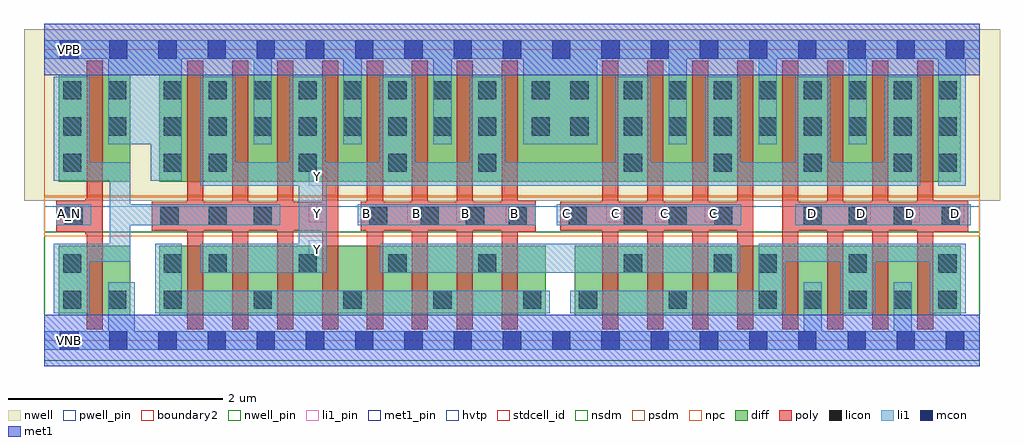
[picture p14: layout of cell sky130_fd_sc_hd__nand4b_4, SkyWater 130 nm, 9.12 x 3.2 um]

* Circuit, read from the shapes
.subckt sky130_fd_sc_hd__nand4b_4 A_N B C D VGND VNB VPB VPWR Y
XM1 VGND A_N n1 VNB sky130_fd_pr__nfet_01v8 w=0.65 l=0.15
XM2 Y n1 n2 VNB sky130_fd_pr__nfet_01v8 w=0.65 l=0.15 m=4
XM3 n3 B n2 VNB sky130_fd_pr__nfet_01v8 w=0.65 l=0.15 m=4
XM4 n3 C n4 VNB sky130_fd_pr__nfet_01v8 w=0.65 l=0.15 m=4
XM5 VGND D n4 VNB sky130_fd_pr__nfet_01v8 w=0.65 l=0.15 m=4
XM6 VPWR A_N n1 VPB sky130_fd_pr__pfet_01v8_hvt w=1 l=0.15
XM7 Y n1 VPWR VPB sky130_fd_pr__pfet_01v8_hvt w=1 l=0.15 m=4
XM8 Y B VPWR VPB sky130_fd_pr__pfet_01v8_hvt w=1 l=0.15 m=4
XM9 Y C VPWR VPB sky130_fd_pr__pfet_01v8_hvt w=1 l=0.15 m=4
XM10 Y D VPWR VPB sky130_fd_pr__pfet_01v8_hvt w=1 l=0.15 m=4
.ends

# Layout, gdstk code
import gdstk
lib = gdstk.Library(unit=1e-6, precision=1e-09)
def R(c, l, rs):  # rectangles x0, y0, x1, y1
    for r in rs: c.add(gdstk.rectangle(r[:2], r[2:], *l))
def A(c, l, x, y, w, h, nx, ny, dx, dy):  # array of equal rectangles
    R(c, l, [(x+i*dx, y+j*dy, x+i*dx+w, y+j*dy+h) for i in range(nx) for j in range(ny)])
def P(c, l, *ps):  # polygons
    for p in ps: c.add(gdstk.Polygon(p, *l))
nwell_pin = (64, 16)
nwell = (64, 20)
diff = (65, 20)
poly = (66, 20)
licon = (66, 44)
li1_pin = (67, 16)
li1 = (67, 20)
mcon = (67, 44)
met1_pin = (68, 16)
met1 = (68, 20)
hvtp = (78, 44)
stdcell_id = (81, 4)
nsdm = (93, 44)
psdm = (94, 20)
npc = (95, 20)
pwell_pin = (122, 16)
boundary2 = (236, 0)

sky130_fd_sc_hd__nand4b_ = lib.new_cell('sky130_fd_sc_hd__nand4b_4')
R(sky130_fd_sc_hd__nand4b_, nwell_pin, [(0.15,2.635,0.32,2.805)])
R(sky130_fd_sc_hd__nand4b_, nwell, [(-0.19,1.305,8.93,2.91)])
R(sky130_fd_sc_hd__nand4b_, diff, [(0.135,0.235,0.805,0.885), (1.075,0.235,4.685,0.885), (4.955,0.235,8.565,0.885), (0.135,1.485,0.805,2.485), (1.075,1.485,8.565,2.485)])
R(sky130_fd_sc_hd__nand4b_, poly, [(0.11,1.015,0.38,1.025), (8.305,1.015,8.635,1.025), (0.11,1.295,0.38,1.305), (8.305,1.295,8.635,1.305)])
P(sky130_fd_sc_hd__nand4b_, poly, [(0.545,2.615),(0.395,2.615),(0.395,1.325),(0.38,1.325),(0.38,1.295),(0.11,1.295),(0.11,1.025),(0.38,1.025),(0.38,0.995),(0.395,0.995),(0.395,0.105),(0.545,0.105)],
  [(4.59,1.305),(4.425,1.305),(4.425,2.615),(4.275,2.615),(4.275,1.295),(4.005,1.295),(4.005,2.615),(3.855,2.615),(3.855,1.295),(3.585,1.295),(3.585,2.615),(3.435,2.615),(3.435,1.295),(3.165,1.295),(3.165,2.615),(3.015,2.615),(3.015,1.295),(2.955,1.295),(2.955,1.025),(3.015,1.025),(3.015,0.105),(3.165,0.105),(3.165,1.025),(3.435,1.025),(3.435,0.105),(3.585,0.105),(3.585,1.025),(3.855,1.025),(3.855,0.105),(4.005,0.105),(4.005,1.025),(4.275,1.025),(4.275,0.105),(4.425,0.105),(4.425,1.015),(4.59,1.015)],
  [(2.745,2.615),(2.595,2.615),(2.595,1.295),(2.325,1.295),(2.325,2.615),(2.175,2.615),(2.175,1.295),(1.905,1.295),(1.905,2.615),(1.755,2.615),(1.755,1.295),(1.485,1.295),(1.485,2.615),(1.335,2.615),(1.335,1.295),(1.005,1.295),(1.005,1.025),(1.335,1.025),(1.335,0.105),(1.485,0.105),(1.485,1.025),(1.755,1.025),(1.755,0.105),(1.905,0.105),(1.905,1.025),(2.175,1.025),(2.175,0.105),(2.325,0.105),(2.325,1.025),(2.595,1.025),(2.595,0.105),(2.745,0.105)],
  [(8.635,1.295),(8.305,1.295),(8.305,2.615),(8.155,2.615),(8.155,1.295),(7.885,1.295),(7.885,2.615),(7.735,2.615),(7.735,1.295),(7.465,1.295),(7.465,2.615),(7.315,2.615),(7.315,1.295),(7.045,1.295),(7.045,2.615),(6.895,2.615),(6.895,0.105),(7.045,0.105),(7.045,1.025),(7.315,1.025),(7.315,0.105),(7.465,0.105),(7.465,1.025),(7.735,1.025),(7.735,0.105),(7.885,0.105),(7.885,1.025),(8.155,1.025),(8.155,0.105),(8.305,0.105),(8.305,1.025),(8.635,1.025)],
  [(6.625,2.615),(6.475,2.615),(6.475,1.295),(6.205,1.295),(6.205,2.615),(6.055,2.615),(6.055,1.295),(5.785,1.295),(5.785,2.615),(5.635,2.615),(5.635,1.295),(5.365,1.295),(5.365,2.615),(5.215,2.615),(5.215,1.295),(4.82,1.295),(4.82,1.025),(5.215,1.025),(5.215,0.105),(5.365,0.105),(5.365,1.025),(5.635,1.025),(5.635,0.105),(5.785,0.105),(5.785,1.025),(6.055,1.025),(6.055,0.105),(6.205,0.105),(6.205,1.025),(6.475,1.025),(6.475,0.105),(6.625,0.105)])
A(sky130_fd_sc_hd__nand4b_, licon, 1.115, 0.295, 0.17, 0.17, 5, 1, 0.84, 0)
A(sky130_fd_sc_hd__nand4b_, licon, 4.995, 0.295, 0.17, 0.17, 3, 1, 0.84, 0)
A(sky130_fd_sc_hd__nand4b_, licon, 7.095, 0.295, 0.17, 0.17, 4, 1, 0.42, 0)
A(sky130_fd_sc_hd__nand4b_, licon, 1.535, 0.635, 0.17, 0.17, 4, 2, 0.84, 0.94)
A(sky130_fd_sc_hd__nand4b_, licon, 6.675, 0.635, 0.17, 0.17, 3, 1, 0.84, 0)
A(sky130_fd_sc_hd__nand4b_, licon, 7.095, 1.075, 0.17, 0.17, 3, 1, 0.42, 0)
A(sky130_fd_sc_hd__nand4b_, licon, 0.175, 1.575, 0.17, 0.17, 1, 3, 0, 0.34)
A(sky130_fd_sc_hd__nand4b_, licon, 5.415, 1.575, 0.17, 0.17, 4, 1, 0.84, 0)
A(sky130_fd_sc_hd__nand4b_, licon, 1.115, 1.915, 0.17, 0.17, 8, 2, 0.42, 0.34)
A(sky130_fd_sc_hd__nand4b_, licon, 5.415, 1.915, 0.17, 0.17, 8, 2, 0.42, 0.34)
R(sky130_fd_sc_hd__nand4b_, licon, [(0.175,0.295,0.345,0.465), (0.595,0.295,0.765,0.465), (0.175,0.635,0.345,0.805), (1.115,0.635,1.285,0.805), (5.415,0.635,5.585,0.805), (6.255,0.635,6.425,0.805), (0.19,1.075,0.36,1.245), (1.085,1.075,1.255,1.245), (1.535,1.075,1.705,1.245), (1.955,1.075,2.125,1.245), (3.035,1.075,3.205,1.245), (3.515,1.075,3.685,1.245), (3.94,1.075,4.11,1.245), (4.34,1.075,4.51,1.245), (4.9,1.075,5.07,1.245), (5.415,1.075,5.585,1.245), (5.835,1.075,6.005,1.245), (6.26,1.075,6.43,1.245), (8.385,1.075,8.555,1.245), (1.115,1.575,1.285,1.745), (8.355,1.575,8.525,1.745), (0.595,1.915,0.765,2.085), (4.555,1.915,4.725,2.085), (4.915,1.915,5.085,2.085), (0.595,2.255,0.765,2.425), (4.555,2.255,4.725,2.425), (4.915,2.255,5.085,2.425)])
A(sky130_fd_sc_hd__nand4b_, li1_pin, 2.47, 1.105, 0.17, 0.17, 5, 1, 0.46, 0)
A(sky130_fd_sc_hd__nand4b_, li1_pin, 4.79, 1.105, 0.17, 0.17, 4, 1, 0.46, 0)
A(sky130_fd_sc_hd__nand4b_, li1_pin, 7.09, 1.105, 0.17, 0.17, 3, 1, 0.46, 0)
R(sky130_fd_sc_hd__nand4b_, li1_pin, [(2.47,0.765,2.64,0.935), (0.15,1.105,0.32,1.275), (8.425,1.105,8.595,1.275), (2.47,1.445,2.64,1.615)])
R(sky130_fd_sc_hd__nand4b_, li1, [(3.135,0.635,6.505,0.905), (0.11,1.075,0.44,1.275), (2.93,1.075,4.59,1.275), (4.79,1.075,6.51,1.275), (7.015,1.075,8.655,1.275)])
P(sky130_fd_sc_hd__nand4b_, li1, [(2.205,1.275),(0.805,1.275),(0.805,1.665),(0.425,1.665),(0.425,2.465),(0.09,2.465),(0.09,1.495),(0.61,1.495),(0.61,0.905),(0.09,0.905),(0.09,0.255),(0.425,0.255),(0.425,0.735),(0.805,0.735),(0.805,1.075),(2.205,1.075)],
  [(4.725,0.465),(1.285,0.465),(1.285,0.905),(1.035,0.905),(1.035,0.255),(4.725,0.255)],
  [(8.185,2.465),(7.855,2.465),(7.855,1.665),(7.345,1.665),(7.345,2.465),(7.015,2.465),(7.015,1.665),(6.505,1.665),(6.505,2.465),(6.175,2.465),(6.175,1.665),(5.665,1.665),(5.665,2.465),(5.335,2.465),(5.335,1.665),(4.305,1.665),(4.305,2.465),(3.975,2.465),(3.975,1.665),(3.465,1.665),(3.465,2.465),(3.135,2.465),(3.135,1.665),(2.625,1.665),(2.625,2.465),(2.295,2.465),(2.295,1.665),(1.785,1.665),(1.785,2.465),(1.455,2.465),(1.455,1.445),(2.375,1.445),(2.375,0.905),(1.455,0.905),(1.455,0.635),(2.64,0.635),(2.64,1.445),(8.185,1.445)],
  [(8.74,0.085),(8.105,0.085),(8.105,0.545),(7.935,0.545),(7.935,0.085),(7.265,0.085),(7.265,0.545),(7.095,0.545),(7.095,0.085),(0.845,0.085),(0.845,0.545),(0.595,0.545),(0.595,0.085),(0,0.085),(0,-0.085),(8.74,-0.085)],
  [(8.74,2.805),(0,2.805),(0,2.635),(0.595,2.635),(0.595,1.835),(0.995,1.835),(0.995,1.495),(1.285,1.495),(1.285,2.635),(1.955,2.635),(1.955,1.835),(2.125,1.835),(2.125,2.635),(2.795,2.635),(2.795,1.835),(2.965,1.835),(2.965,2.635),(3.635,2.635),(3.635,1.835),(3.805,1.835),(3.805,2.635),(4.475,2.635),(4.475,1.835),(5.165,1.835),(5.165,2.635),(5.835,2.635),(5.835,1.835),(6.005,1.835),(6.005,2.635),(6.675,2.635),(6.675,1.835),(6.845,1.835),(6.845,2.635),(7.515,2.635),(7.515,1.835),(7.685,1.835),(7.685,2.635),(8.355,2.635),(8.355,1.445),(8.61,1.445),(8.61,2.635),(8.74,2.635)],
  [(8.61,0.905),(6.675,0.905),(6.675,0.465),(4.915,0.465),(4.915,0.255),(6.925,0.255),(6.925,0.735),(7.435,0.735),(7.435,0.255),(7.765,0.255),(7.765,0.735),(8.275,0.735),(8.275,0.255),(8.61,0.255)])
A(sky130_fd_sc_hd__nand4b_, mcon, 0.145, -0.085, 0.17, 0.17, 19, 2, 0.46, 2.72)
R(sky130_fd_sc_hd__nand4b_, met1_pin, [(0.15,-0.085,0.32,0.085), (0.15,2.635,0.32,2.805)])
R(sky130_fd_sc_hd__nand4b_, hvtp, [(0,1.25,8.74,2.72)])
R(sky130_fd_sc_hd__nand4b_, stdcell_id, [(0,0,8.74,2.72)])
R(sky130_fd_sc_hd__nand4b_, nsdm, [(0,-0.19,8.74,1.015)])
R(sky130_fd_sc_hd__nand4b_, psdm, [(0,1.355,8.74,2.91)])
R(sky130_fd_sc_hd__nand4b_, npc, [(0,0.975,8.74,1.345)])
R(sky130_fd_sc_hd__nand4b_, pwell_pin, [(0.15,-0.085,0.32,0.085)])
R(sky130_fd_sc_hd__nand4b_, boundary2, [(0,0,8.74,2.72)])
sky130_fd_sc_hd__nand4b_.add(gdstk.FlexPath([(0,2.72),(8.74,2.72)], 0.48, ends="flush", simple_path=True, layer=68, datatype=20))  # met1
sky130_fd_sc_hd__nand4b_.add(gdstk.FlexPath([(0,0),(8.74,0)], 0.48, ends="flush", simple_path=True, layer=68, datatype=20))  # met1
sky130_fd_sc_hd__nand4b_.add(gdstk.Label('D', (8.51,1.19), layer=67, texttype=5))
sky130_fd_sc_hd__nand4b_.add(gdstk.Label('D', (8.095,1.19), layer=67, texttype=5))
sky130_fd_sc_hd__nand4b_.add(gdstk.Label('D', (7.635,1.19), layer=67, texttype=5))
sky130_fd_sc_hd__nand4b_.add(gdstk.Label('C', (5.795,1.19), layer=67, texttype=5))
sky130_fd_sc_hd__nand4b_.add(gdstk.Label('C', (5.335,1.19), layer=67, texttype=5))
sky130_fd_sc_hd__nand4b_.add(gdstk.Label('C', (4.875,1.19), layer=67, texttype=5))
sky130_fd_sc_hd__nand4b_.add(gdstk.Label('B', (4.395,1.19), layer=67, texttype=5))
sky130_fd_sc_hd__nand4b_.add(gdstk.Label('B', (3.935,1.19), layer=67, texttype=5))
sky130_fd_sc_hd__nand4b_.add(gdstk.Label('B', (3.475,1.19), layer=67, texttype=5))
sky130_fd_sc_hd__nand4b_.add(gdstk.Label('B', (3.015,1.19), layer=67, texttype=5))
sky130_fd_sc_hd__nand4b_.add(gdstk.Label('Y', (2.555,0.85), layer=67, texttype=5))
sky130_fd_sc_hd__nand4b_.add(gdstk.Label('Y', (2.555,1.19), layer=67, texttype=5))
sky130_fd_sc_hd__nand4b_.add(gdstk.Label('Y', (2.555,1.53), layer=67, texttype=5))
sky130_fd_sc_hd__nand4b_.add(gdstk.Label('A_N', (0.235,1.19), layer=67, texttype=5))
sky130_fd_sc_hd__nand4b_.add(gdstk.Label('D', (7.175,1.19), layer=67, texttype=5))
sky130_fd_sc_hd__nand4b_.add(gdstk.Label('C', (6.255,1.19), layer=67, texttype=5))
sky130_fd_sc_hd__nand4b_.add(gdstk.Label('VNB', (0.235,0), layer=64, texttype=59))
sky130_fd_sc_hd__nand4b_.add(gdstk.Label('VPB', (0.235,2.72), layer=64, texttype=5))
sky130_fd_sc_hd__nand4b_.add(gdstk.Label('VGND', (0.235,0), layer=68, texttype=5))
sky130_fd_sc_hd__nand4b_.add(gdstk.Label('VPWR', (0.235,2.72), layer=68, texttype=5))
sky130_fd_sc_hd__nand4b_.add(gdstk.Label('nand4b_4', (0,0), layer=83, texttype=44))

lib.write_gds('sky130_fd_sc_hd__nand4b_4.gds')
